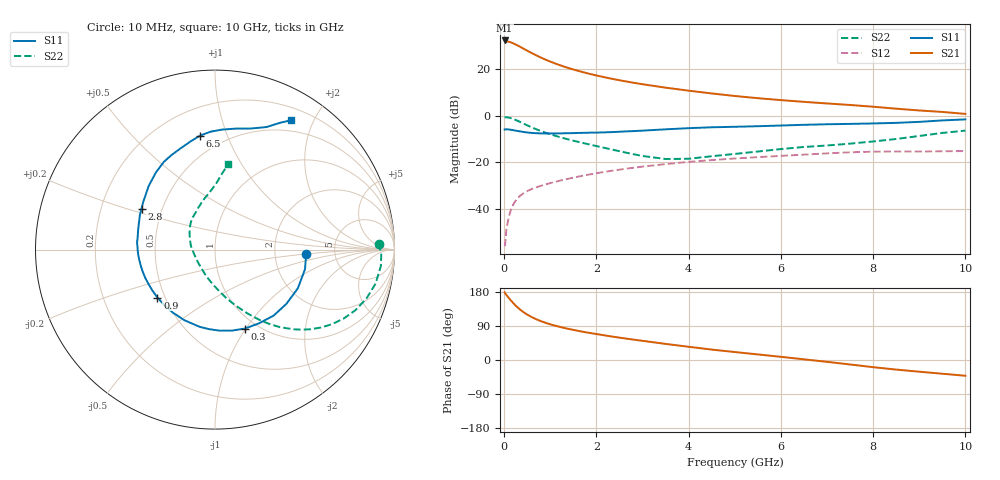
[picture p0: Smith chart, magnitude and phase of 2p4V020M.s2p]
! (c) 2009  Infineon Technologies AG, Munich
! Infineon Technologies  Discrete & RF Semiconductors
! BFP420
! VCE =  4.0 V,  IC =  20 mA
! Common Emitter S-Parameters:  Nov 2009
# GHz  S  MA  R  50
!  f  S11  S21  S12  S22
! GHz  MAG  ANG  MAG  ANG  MAG  ANG  MAG  ANG
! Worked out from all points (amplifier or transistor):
!   46 points, 10 MHz to 10 GHz, reference 50 ohm
!   highest |S21| = 32.3 dB at 10 MHz (marker M1)
!   |S21| within 3 dB of that: start of sweep to 372.5 MHz
!   unconditionally stable (mu >= 1): start of sweep to 21.9 MHz; 1.85 GHz to end of sweep
!   at 300 MHz: K = 0.36, MSG = 32.6 dB, |S12| = -35.2 dB
!   at 1.7 GHz: K = 0.97, MSG = 22.2 dB, |S12| = -25.7 dB
!   at 10 GHz: K = 1.07, MAG = 6.4 dB, |S12| = -15.1 dB
!   lowest NFmin = 1.23 dB at 900 MHz
!   S11 on the Smith chart (normalised r, x): 10 MHz: 3.04, -0.20; 300 MHz: 0.88, -0.99; 900 MHz: 0.46, -0.29; 2.8 GHz: 0.38, +0.22; 6.5 GHz: 0.37, +0.81; 10 GHz: 0.35, +1.69
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0.01  0.5072 -2.7  41.19 178.6  0.0016 40.9  0.9143 2.1
0.02  0.5082 -4.6  40.04 176.1  0.0017 53.5  0.9267 -1.8
0.05  0.5132 -12.3  39.57 171.5  0.0038 66.1  0.9288 -5.7
0.1  0.5095 -25.0  38.74 163.9  0.0067 70.6  0.9143 -12.0
0.15  0.4997 -37.2  37.31 156.6  0.0099 70.2  0.8868 -17.9
0.2  0.4918 -48.4  35.65 149.9  0.0127 67.8  0.8524 -23.3
0.3  0.4704 -69.2  31.87 137.9  0.0174 63.2  0.7732 -32.5
0.35  0.4611 -78.3  29.99 132.7  0.0194 61.3  0.733 -36.3
0.45  0.4445 -94.2  26.46 123.8  0.0228 58.3  0.6577 -42.7
0.6  0.4289 -113.4  22.02 113.0  0.0269 55.5  0.5632 -50.1
0.7  0.4224 -123.9  19.63 107.3  0.0293 54.5  0.5122 -53.9
0.9  0.4172 -140.2  15.95 98.1  0.0338 53.5  0.4331 -60.0
1.2  0.4196 -158.3  12.23 87.6  0.0404 53.0  0.3498 -67.7
1.7  0.4302 -178.9  8.659 74.8  0.0517 51.6  0.2618 -79.1
2.2  0.4415 166.0  6.616 64.5  0.0632 49.2  0.2025 -91.1
2.8  0.4691 150.8  5.112 53.9  0.0768 45.1  0.1502 -110.7
3.5  0.512 136.2  4.008 42.5  0.092 39.5  0.1183 -143.5
5.5  0.5968 108.4  2.383 14.7  0.1297 21.9  0.1712 145.9
6.5  0.6403 97.5  1.987 1.8  0.1469 13.1  0.2143 127.1
7  0.6574 92.2  1.837 -4.9  0.1561 8.5  0.2304 118.6
8.5  0.7044 73.3  1.418 -25.3  0.171 -8.3  0.3179 95.8
10  0.8367 59.5  1.097 -41.6  0.1753 -19.4  0.4806 81.2
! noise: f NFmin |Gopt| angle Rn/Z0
0.9  1.23  0.16  -154  0.13
1.8  1.51  0.24  -144  0.13
2.4  1.66  0.22  -141  0.15
3  1.69  0.3  -132  0.16
4  1.82  0.42  -115  0.23
5  2.28  0.48  -96  0.37
6  2.65  0.52  -86  0.56
